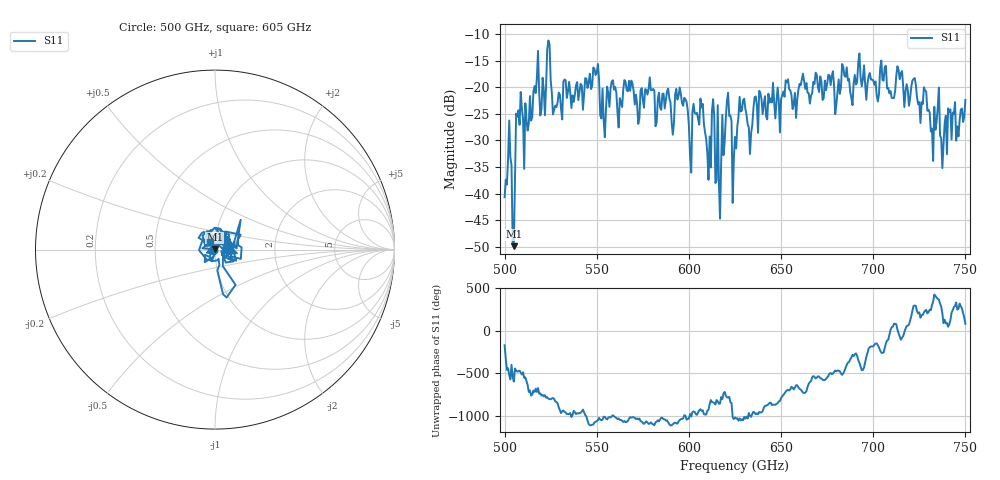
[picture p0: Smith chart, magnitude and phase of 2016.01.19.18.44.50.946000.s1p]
!Created with skrf (http://scikit-rf.org).
# GHz S RI R 50.0
!freq ReS11 ImS11
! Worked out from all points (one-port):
!   401 points, 500 GHz to 750 GHz, reference 50 ohm
!   lowest |S11| = -49.8 dB at 505 GHz (marker M1), VSWR 1.01, Z = 49.8 + j0.263 ohm
!   |S11| at or under -10 dB: start of sweep to end of sweep
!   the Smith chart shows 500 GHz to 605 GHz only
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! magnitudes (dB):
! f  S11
! 500 GHz  -40.6
! 502.5 GHz  -26.2
! 505 GHz  -49.8
! 507.5 GHz  -24.3
! 511.9 GHz  -26.2
! 523.8 GHz  -11.2
! 526.9 GHz  -24.2
! 531.2 GHz  -26.0
! 549.4 GHz  -17.7
! 553.1 GHz  -20.3
! 558.8 GHz  -18.7
! 562.5 GHz  -22.1
! 593.8 GHz  -22.3
! 600.6 GHz  -32.9
! 607.5 GHz  -23.1
! 610.6 GHz  -37.4
! 612.5 GHz  -24.5
! 615.6 GHz  -23.4
! 621.9 GHz  -25.4
! 625 GHz  -29.3
! 628.8 GHz  -24.4
! 633.1 GHz  -32.5
! 639.4 GHz  -22.2
! 656.2 GHz  -24.1
! 687.5 GHz  -20.9
! 718.8 GHz  -20.5
! 737.5 GHz  -35.2
! 750 GHz  -22.4
